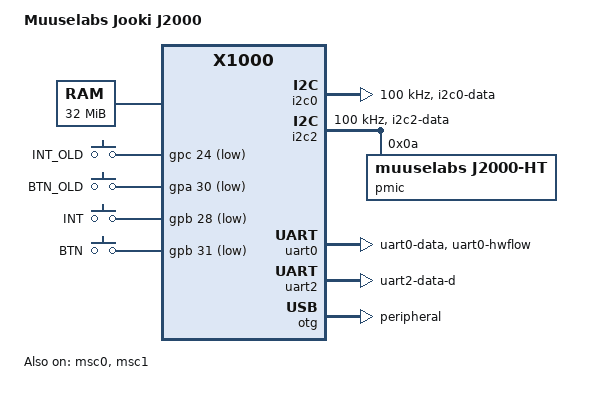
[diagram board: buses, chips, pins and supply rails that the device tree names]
// SPDX-License-Identifier: GPL-2.0
/dts-v1/;

#include "x1000.dtsi"
#include <dt-bindings/gpio/gpio.h>
#include <dt-bindings/clock/ingenic,tcu.h>
#include <dt-bindings/interrupt-controller/irq.h>

/ {
	compatible = "muuselabs,j2000", "ingenic,x1000";
	model = "Muuselabs Jooki J2000";

	aliases {
		serial2 = &uart2;
	};

	chosen {
		stdout-path = "serial2:115200n8";
	};

	memory {
		device_type = "memory";
		reg = <0x0 0x02000000>;
	};

	sound_halley2_icdc {
		status = "ok";
		compatible = "ingenic,x1000-sound";
		ingenic,model = "halley2";
		ingenic,dai-link = "i2s-icdc";
		ingenic,stream = "main";
		ingenic,cpu-dai = <&i2s>;
		ingenic,platform = <&aic>;
		ingenic,codec = <&codec>;
		ingenic,codec-dai = "icdc-d3-hifi";
		ingenic,audio-routing = "Speaker", "DO_LO_PWM";
	};
};

&exclk {
	clock-frequency = <24000000>;
};

&ost {
	counting-frequency = <1500000>;
};

&tcu {
	/* 1500 kHz for the system timer */
	assigned-clocks = <&tcu TCU_CLK_TIMER7>;
	assigned-clock-rates = <1500000>;

	/* Use channel #8 for the system timer */
	ingenic,pwm-channels-mask = <0x7f>;
};

&i2c0 {
	status = "okay";

	clock-frequency = <100000>;

	pinctrl-names = "default";
	pinctrl-0 = <&pins_i2c0>;
};

&i2c2 {
	status = "okay";

	clock-frequency = <100000>;

	pinctrl-names = "default";
	pinctrl-0 = <&pins_i2c2>;

    pmic: j2000_ht@0A {
		compatible = "muuselabs,j2000-ht";
		reg = <0x0A>;
	};
};

&uart0 {
	status = "okay";

	pinctrl-names = "default";
	pinctrl-0 = <&pins_uart0>;
};

&uart2 {
	status = "okay";

	pinctrl-names = "default";
	pinctrl-0 = <&pins_uart2>;
};

&otg {
	status = "okay";
	dr_mode = "peripheral";

	/* to fix issues with the g_audio gadget*/
	g-np-tx-fifo-size = <384>;
	g-tx-fifo-size = <384 256 256 256 256 256 256 512>;
};

&msc0 {
	status = "okay";

	bus-width = <4>;
	max-frequency = <19000000>;

	pinctrl-names = "default";
	pinctrl-0 = <&pins_msc0>;

	non-removable;
};

&msc1 {
	status = "okay";

	bus-width = <4>;
	max-frequency = <11320760>;

	pinctrl-names = "default";
	pinctrl-0 = <&pins_msc1>;

    /* non-removable; */
    broken-cd;
   /* cd-gpios = <&gpc 17 GPIO_ACTIVE_HIGH>; */
};

&aic {
	pinctrl-names = "default";
	pinctrl-0 = <&i2s_pins>;
};

&pinctrl {
	pins_i2c0: i2c0 {
		function = "i2c0";
		groups = "i2c0-data";
		bias-pull-up;
	};

	pins_i2c2: i2c2 {
		function = "i2c2";
		groups = "i2c2-data";
		bias-pull-up;
	};

	pins_uart0: uart0 {
		function = "uart0";
		groups = "uart0-data", "uart0-hwflow";
		bias-disable;
	};

	pins_uart2: uart2 {
		function = "uart2";
		groups = "uart2-data-d";
		bias-disable;
	};

	pins_msc0: msc0 {
		function = "mmc0";
		groups = "mmc0-1bit", "mmc0-4bit", "mmc0-8bit";
		bias-pull-up;
	};

	pins_msc1: msc1 {
		function = "mmc1";
		groups = "mmc1-1bit", "mmc1-4bit";
		bias-pull-up;
	};

	i2s_pins:i2s_pins {
		function = "i2s";
		groups = "i2s";
		bias-disable;
	};
};

/* Keys control */
/ {
	keys {
		compatible = "gpio-keys";

		/* PCB before MSB */
		int_old {
			label = "INT_OLD";
			gpios = <&gpc 24 GPIO_ACTIVE_LOW>;
			linux,code = <152>;
		};
		/* needs patch on board */
        btn_old {
			label = "BTN_OLD";
			gpios = <&gpa 30 GPIO_ACTIVE_LOW>;
			linux,code = <207>;
		};

		/* PCB from MSB on */
		int {
			label = "INT";
			gpios = <&gpb 28 GPIO_ACTIVE_LOW>;
			linux,code = <152>;
		};
		btn {
			label = "BTN";
			gpios = <&gpb 31 GPIO_ACTIVE_LOW>;
			linux,code = <207>;
		};
	};
};
